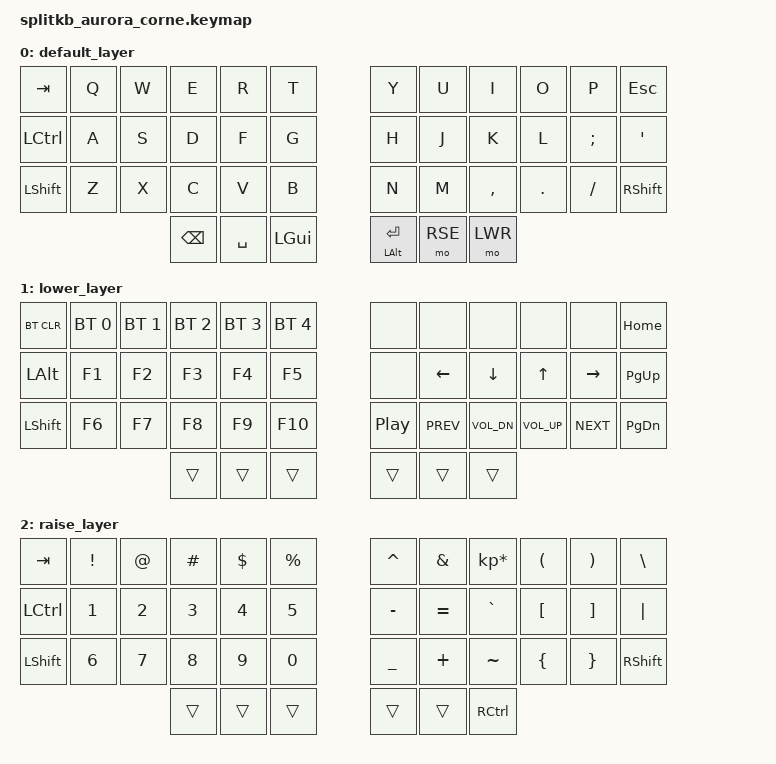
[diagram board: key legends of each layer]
/*
 * Copyright (c) 2020 The ZMK Contributors
 *
 * SPDX-License-Identifier: MIT
 */

#include <behaviors.dtsi>
#include <dt-bindings/zmk/keys.h>
#include <dt-bindings/zmk/bt.h>

#define DEF  0
#define LWR  1
#define RSE  2

/ {     behaviors {
          tp: tap_preferred {
            compatible = "zmk,behavior-hold-tap";
            label =  "TAP_PREFERRED";
            #binding-cells = <2>;
            tapping-term-ms = <200>;
            quick-tap-ms = <0>;
            flavor = "tap-preferred";
            bindings = <&kp>, <&kp>;
          };
        };

        keymap {
                compatible = "zmk,keymap";

                default_layer {
// -----------------------------------------------------------------------------------------
// |  TAB |  Q  |  W  |  E  |  R  |  T  |   |  Y  |  U   |  I  |  O  |  P  |  ESC  |
// | CTRL |  A  |  S  |  D  |  F  |  G  |   |  H  |  J   |  K  |  L  |  ;  |   '   |
// | SHFT |  Z  |  X  |  C  |  V  |  B  |   |  N  |  M   |  ,  |  .  |  /  | RSHFT |
//       | BSPC | SPACE | SUPER |                  | LALT/ENT | RSE | LWR |
                        bindings = <
   &kp TAB   &kp Q &kp W &kp E &kp R &kp T   &kp Y &kp U  &kp I     &kp O   &kp P    &kp ESC
   &kp LCTRL &kp A &kp S &kp D &kp F &kp G   &kp H &kp J  &kp K     &kp L   &kp SEMI &kp SQT
   &kp LSHFT &kp Z &kp X &kp C &kp V &kp B   &kp N &kp M  &kp COMMA &kp DOT &kp FSLH &kp RSHFT
       &kp BSPC &kp SPACE &kp LGUI    &tp LALT RET &mo RSE &mo LWR
                        >;
                };
                lower_layer {
// -----------------------------------------------------------------------------------------
// | BTCLR |  BT1 |  BT2 |  BT3 |  BT4 |  BT5 |   |      |       |       |       |      | HOME |
// | LALT  |  F1  |  F2  |  F3  |  F4  |  F5  |   |      |  LFT  |  DWN  |  UP   | RGT  | PGUP |
// | SHFT  |  F6  |  F7  |  F8  |  F9  |  F10 |   |  PP  | Prev  | Vol - | Vol + | Next | PGDN |
//                      |      |      |      |     |      |       |       |
                        bindings = <
   &bt BT_CLR &bt BT_SEL 0 &bt BT_SEL 1 &bt BT_SEL 2 &bt BT_SEL 3 &bt BT_SEL 4    &none    &none      &none        &none        &none      &kp HOME
   &kp LALT   &kp F1       &kp F2       &kp F3       &kp F4       &kp F5          &none    &kp LEFT   &kp DOWN     &kp UP       &kp RIGHT  &kp PG_UP
   &kp LSHFT  &kp F6       &kp F7       &kp F8       &kp F9       &kp F10         &kp C_PP &kp C_PREV &kp C_VOL_DN &kp C_VOL_UP &kp C_NEXT &kp PG_DN
                                                 &trans  &trans  &trans             &trans  &trans  &trans
                        >;
                };

                raise_layer {
// -----------------------------------------------------------------------------------------
// |  TAB |  !  |  @  |  #  |  $  |  %  |   |  ^  |  &  |  *  |  (  |  )  |   \   |
// | CTRL |  1  |  2  |  3  |  4  |  5  |   |  -  |  =  |  `  |  [  |  ]  |  "|"  |
// | SHFT |  6  |  7  |  8  |  9  |  0  |   |  _  |  +  |  ~  |  {  |  }  | RSHFT |
//            |      |       |       |         |     |      | RCTRL |
                        bindings = <
   &kp  TAB  &kp EXCL &kp AT &kp HASH &kp DLLR &kp PRCNT   &kp CARET &kp AMPS  &kp KP_MULTIPLY &kp LPAR &kp RPAR &kp BSLH
   &kp LCTRL &kp N1   &kp N2 &kp N3   &kp N4   &kp N5      &kp MINUS &kp EQUAL &kp GRAVE       &kp LBKT &kp RBKT &kp PIPE
   &kp LSHFT &kp N6   &kp N7 &kp N8   &kp N9   &kp N0      &kp UNDER &kp PLUS  &kp TILDE       &kp LBRC &kp RBRC &kp RSHFT
                       &trans &trans &trans            &trans &trans &kp RCTRL
                        >;
                };
        };
};
